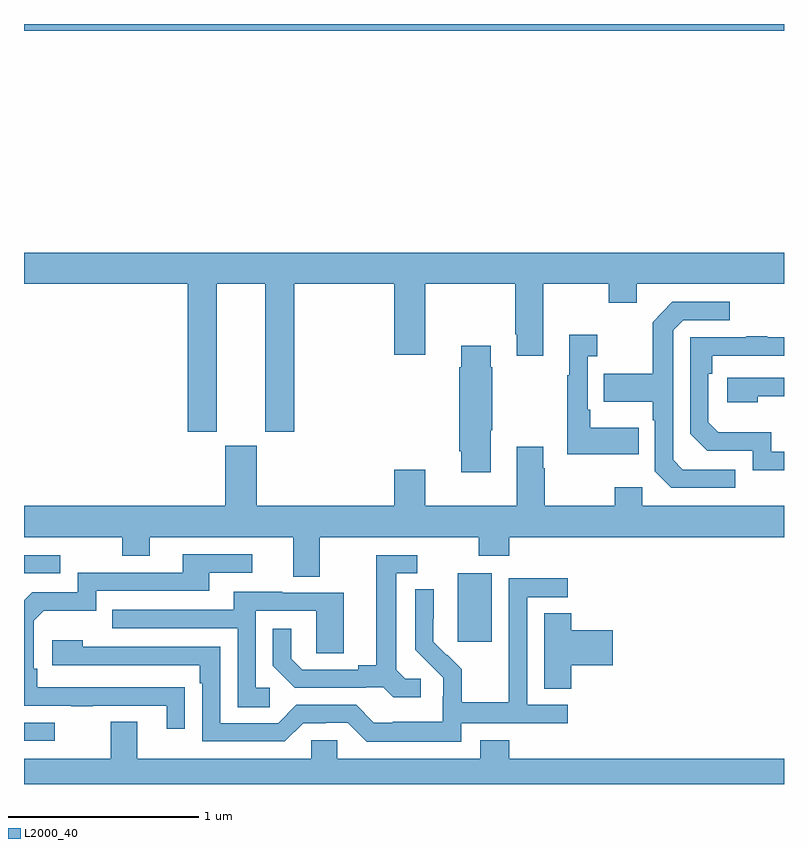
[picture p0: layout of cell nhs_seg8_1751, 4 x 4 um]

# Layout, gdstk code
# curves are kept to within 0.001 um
import gdstk
lib = gdstk.Library(unit=1e-6, precision=1e-09)
def R(c, l, rs):  # rectangles x0, y0, x1, y1
    for r in rs: c.add(gdstk.rectangle(r[:2], r[2:], *l))
def P(c, l, *ps):  # polygons
    for p in ps: c.add(gdstk.Polygon(p, *l))
L2000_40 = (2000, 40)

nhs_seg8_1751 = lib.new_cell('nhs_seg8_1751')
R(nhs_seg8_1751, L2000_40, [(223,1082.127,223.162,1082.223), (225.284,1082.649,225.463,1083.01), (223,1083.009,223.192,1083.105), (223,1085.864,227,1085.9)])
P(nhs_seg8_1751, L2000_40, [(224.014,1084.532),(224.27,1084.532),(224.27,1083.753),(224.423,1083.753),(224.423,1084.532),(224.948,1084.532),(224.948,1084.158),(225.112,1084.158),(225.112,1084.532),(225.586,1084.532),(225.586,1084.267),(225.593,1084.267),(225.593,1084.155),(225.733,1084.155),(225.733,1084.532),(226.078,1084.532),(226.078,1084.433),(226.225,1084.433),(226.225,1084.532),(227,1084.532),(227,1084.696),(223,1084.696),(223,1084.532),(223.862,1084.532),(223.862,1083.753),(224.014,1083.753)],
  [(226.744,1083.555),(226.467,1083.555),(226.416,1083.606),(226.416,1084.287),(226.47,1084.341),(226.714,1084.341),(226.714,1084.437),(226.413,1084.437),(226.308,1084.331),(226.308,1084.059),(226.051,1084.059),(226.051,1083.911),(226.308,1083.911),(226.308,1083.815),(226.32,1083.815),(226.32,1083.546),(226.407,1083.459),(226.744,1083.459)],
  [(226.235,1083.775),(225.979,1083.775),(225.979,1083.871),(225.966,1083.871),(225.966,1084.151),(226.018,1084.151),(226.018,1084.264),(225.869,1084.264),(225.869,1084.051),(225.858,1084.051),(225.858,1083.635),(226.235,1083.635)],
  [(227,1083.648),(226.932,1083.648),(226.932,1083.751),(226.655,1083.751),(226.602,1083.804),(226.602,1084.058),(226.622,1084.058),(226.622,1084.155),(227,1084.155),(227,1084.251),(226.913,1084.251),(226.913,1084.256),(226.801,1084.256),(226.801,1084.251),(226.506,1084.251),(226.506,1083.744),(226.596,1083.654),(226.836,1083.654),(226.836,1083.552),(227,1083.552)],
  [(225.457,1083.763),(225.465,1083.763),(225.465,1084.094),(225.457,1084.094),(225.457,1084.207),(225.302,1084.207),(225.302,1084.094),(225.29,1084.094),(225.29,1083.652),(225.302,1083.652),(225.302,1083.54),(225.457,1083.54)],
  [(226.862,1083.942),(227,1083.942),(227,1084.038),(226.701,1084.038),(226.701,1083.908),(226.862,1083.908)],
  [(224.557,1083.2),(225.394,1083.2),(225.394,1083.101),(225.554,1083.101),(225.554,1083.2),(227,1083.2),(227,1083.364),(226.254,1083.364),(226.254,1083.463),(226.108,1083.463),(226.108,1083.364),(225.741,1083.364),(225.741,1083.563),(225.733,1083.563),(225.733,1083.676),(225.593,1083.676),(225.593,1083.364),(225.112,1083.364),(225.112,1083.553),(224.948,1083.553),(224.948,1083.364),(224.224,1083.364),(224.224,1083.681),(224.06,1083.681),(224.06,1083.364),(223,1083.364),(223,1083.2),(223.516,1083.2),(223.516,1083.101),(223.663,1083.101),(223.663,1083.2),(224.417,1083.2),(224.417,1082.992),(224.557,1082.992)],
  [(223.847,1082.408),(223.07,1082.409),(223.07,1082.506),(223.05,1082.506),(223.05,1082.76),(223.103,1082.813),(223.38,1082.813),(223.38,1082.916),(223.975,1082.916),(223.975,1083.012),(224.2,1083.012),(224.2,1083.108),(223.835,1083.108),(223.835,1083.012),(223.284,1083.012),(223.284,1082.91),(223.044,1082.91),(223,1082.866),(223,1082.313),(223.249,1082.313),(223.249,1082.308),(223.361,1082.308),(223.361,1082.313),(223.751,1082.313),(223.751,1082.19),(223.847,1082.19)],
  [(225.088,1082.454),(225.006,1082.454),(224.959,1082.501),(224.959,1083.009),(225.07,1083.009),(225.07,1083.105),(224.855,1083.105),(224.855,1082.525),(224.759,1082.525),(224.759,1082.502),(224.464,1082.502),(224.407,1082.559),(224.407,1082.716),(224.31,1082.716),(224.31,1082.522),(224.426,1082.406),(224.798,1082.406),(224.798,1082.409),(224.892,1082.409),(224.944,1082.357),(225.088,1082.357)],
  [(225.3,1082.22),(225.862,1082.22),(225.862,1082.316),(225.648,1082.316),(225.648,1082.883),(225.862,1082.883),(225.862,1082.982),(225.552,1082.982),(225.552,1082.552),(225.55,1082.552),(225.55,1082.329),(225.305,1082.329),(225.305,1082.503),(225.228,1082.58),(225.225,1082.577),(225.155,1082.648),(225.156,1082.924),(225.06,1082.924),(225.06,1082.606),(225.206,1082.458),(225.206,1082.361),(225.204,1082.361),(225.204,1082.227),(224.941,1082.227),(224.941,1082.223),(224.841,1082.223),(224.748,1082.316),(224.433,1082.316),(224.337,1082.22),(224.034,1082.22),(224.034,1082.622),(223.31,1082.622),(223.31,1082.656),(223.149,1082.656),(223.149,1082.526),(223.925,1082.526),(223.925,1082.429),(223.938,1082.429),(223.938,1082.124),(224.373,1082.124),(224.469,1082.22),(224.588,1082.22),(224.588,1082.223),(224.703,1082.223),(224.803,1082.123),(225.3,1082.123)],
  [(224.293,1082.406),(224.22,1082.406),(224.22,1082.811),(224.538,1082.811),(224.538,1082.587),(224.683,1082.587),(224.683,1082.907),(224.359,1082.907),(224.359,1082.911),(224.105,1082.911),(224.105,1082.817),(223.465,1082.817),(223.465,1082.721),(224.124,1082.721),(224.124,1082.305),(224.293,1082.305)],
  [(225.881,1082.525),(226.099,1082.525),(226.099,1082.708),(225.881,1082.708),(225.881,1082.798),(225.737,1082.798),(225.737,1082.401),(225.881,1082.401)],
  [(227,1082.032),(225.554,1082.032),(225.554,1082.131),(225.401,1082.131),(225.401,1082.032),(224.649,1082.032),(224.649,1082.13),(224.511,1082.13),(224.511,1082.032),(223.597,1082.032),(223.597,1082.227),(223.457,1082.227),(223.457,1082.032),(223,1082.032),(223,1081.9),(227,1081.9)])

lib.write_gds('nhs_seg8_1751.gds')
